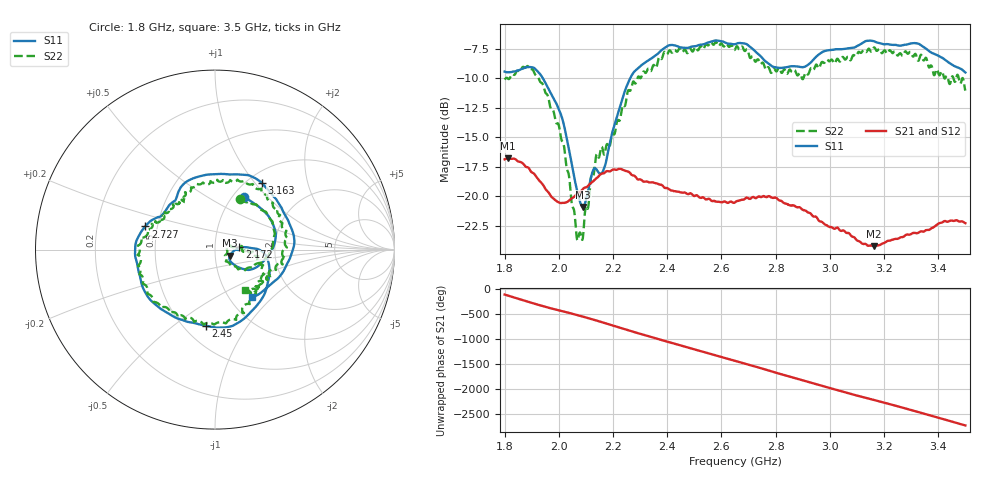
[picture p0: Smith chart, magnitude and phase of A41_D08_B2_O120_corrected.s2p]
! Created with skrf 1.9.0 (http://scikit-rf.org).
# Hz S RI R 50.0
!freq ReS11 ImS11 ReS21 ImS21 ReS12 ImS12 ReS22 ImS22
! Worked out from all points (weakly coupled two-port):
!   1601 points, 1.8 GHz to 3.5 GHz, reference 50 ohm
!   highest |S21| = -16.79 dB at 1.812 GHz (marker M1); lowest = -24.3 dB at 3.161 GHz (marker M2)
!   lowest |S11| = -20.9 dB at 2.09 GHz (marker M3), VSWR 1.20, Z = 59 - j3.91 ohm
!   |S11| at or under -10 dB: 1.941 GHz to 2.263 GHz (322.3 MHz wide, 15.3 % of centre)
!   |S22| runs from -23.8 to -6.9 dB; largest |S21 - S12| = 0.0027
!   S11 on the Smith chart (normalised r, x): 1.8 GHz: 1.12, +0.75; 2.172 GHz: 1.31, +0.03; 2.45 GHz: 0.64, -0.66; 2.727 GHz: 0.43, +0.13; 3.163 GHz: 1.16, +1.08; 3.5 GHz: 1.27, -0.75
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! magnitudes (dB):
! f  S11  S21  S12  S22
! 1.8 GHz  -9.4  -16.9  -16.9  -10.1
! 1.812 GHz  -9.5  -16.8  -16.8  -10.0
! 1.885 GHz  -9.1  -17.6  -17.6  -9.0
! 1.941 GHz  -10.0  -19.0  -19.0  -10.5
! 2.011 GHz  -13.3  -20.6  -20.6  -15.3
! 2.066 GHz  -19.4  -19.8  -19.8  -23.4
! 2.084 GHz  -20.8  -19.5  -19.5  -23.5
! 2.09 GHz  -20.9  -19.4  -19.4  -23.2
! 2.137 GHz  -17.7  -18.5  -18.5  -16.7
! 2.172 GHz  -17.3  -18.0  -18.0  -16.1
! 2.261 GHz  -10.1  -18.0  -18.0  -11.1
! 2.367 GHz  -7.9  -19.0  -18.9  -8.4
! 2.45 GHz  -7.4  -19.7  -19.7  -7.6
! 2.65 GHz  -7.1  -20.5  -20.5  -7.6
! 2.727 GHz  -7.8  -20.2  -20.2  -8.6
! 2.803 GHz  -9.1  -20.2  -20.2  -9.4
! 2.934 GHz  -8.6  -21.6  -21.6  -9.2
! 3.161 GHz  -6.8  -24.3  -24.2  -7.4
! 3.163 GHz  -6.9  -24.2  -24.2  -7.4
! 3.217 GHz  -7.1  -23.8  -23.8  -7.7
! 3.326 GHz  -7.1  -23.1  -23.1  -8.5
! 3.5 GHz  -9.5  -22.3  -22.3  -11.1
